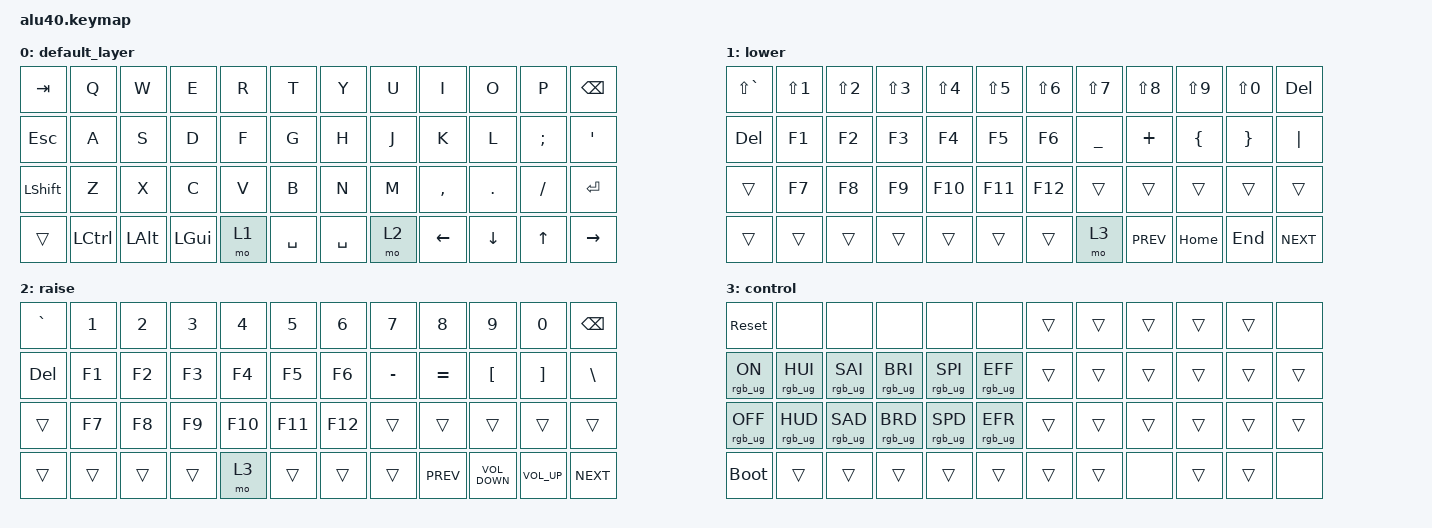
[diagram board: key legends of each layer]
/*
 * Copyright (c) 2022 The ZMK Contributors
 *
 * SPDX-License-Identifier: MIT
 */

#include <behaviors.dtsi>
#include <dt-bindings/zmk/keys.h>
#include <dt-bindings/zmk/rgb.h>

/ {
    keymap {
        compatible = "zmk,keymap";

        default_layer {
            // -----------------------------------------------------------------------------------------
            // | ESC/~ |  Q   |  W   |  E   |  R   |  T   |   Y   |  U    |  I   |  O   |   P   | BSPC  |
            // | TAB   |  A   |  S   |  D   |  F   |  G   |   H   |  J    |  K   |  L   |   ;   |  '    |
            // | SHIFT |  Z   |  X   |  C   |  V   |  B   |   N   |  M    |  ,   |  .   |   /   |RET/SFT|
            // | PLAY  | LCTL | LALT | LGUI | LOWR |     SPACE    |  RAIS | LARW | UARW | DARW  |  RARW |

            bindings = <
&kp TAB    &kp Q      &kp W     &kp E     &kp R  &kp T      &kp Y      &kp U  &kp I      &kp O           &kp P         &kp BSPC
&kp ESC    &kp A      &kp S     &kp D     &kp F  &kp G      &kp H      &kp J  &kp K      &kp L           &kp SEMI      &kp SQT
&kp LSHFT  &kp Z      &kp X     &kp C     &kp V  &kp B      &kp N      &kp M  &kp COMMA  &kp DOT         &kp FSLH      &kp ENTER
&trans     &kp LCTRL  &kp LALT  &kp LGUI  &mo 1  &kp SPACE  &kp SPACE  &mo 2  &kp LEFT   &kp DOWN_ARROW  &kp UP_ARROW  &kp RIGHT
            >;
        };

        lower {
            bindings = <
&kp LS(GRAVE)  &kp LS(N1)  &kp LS(N2)  &kp LS(N3)  &kp LS(N4)  &kp LS(N5)  &kp LS(N6)  &kp LS(N7)  &kp LS(N8)  &kp LS(N9)  &kp LS(N0)  &kp DEL
&kp DEL        &kp F1      &kp F2      &kp F3      &kp F4      &kp F5      &kp F6      &kp UNDER   &kp PLUS    &kp LBRC    &kp RBRC    &kp PIPE
&trans         &kp F7      &kp F8      &kp F9      &kp F10     &kp F11     &kp F12     &trans      &trans      &trans      &trans      &trans
&trans         &trans      &trans      &trans      &trans      &trans      &trans      &mo 3       &kp C_PREV  &kp HOME    &kp END     &kp C_NEXT
            >;
        };

        raise {
            bindings = <
&kp GRAVE  &kp N1  &kp N2  &kp N3  &kp N4   &kp N5   &kp N6   &kp N7     &kp N8      &kp N9             &kp N0        &kp BSPC
&kp DEL    &kp F1  &kp F2  &kp F3  &kp F4   &kp F5   &kp F6   &kp MINUS  &kp EQUAL   &kp LBKT           &kp RBKT      &kp BSLH
&trans     &kp F7  &kp F8  &kp F9  &kp F10  &kp F11  &kp F12  &trans     &trans      &trans             &trans        &trans
&trans     &trans  &trans  &trans  &mo 3    &trans   &trans   &trans     &kp C_PREV  &kp C_VOLUME_DOWN  &kp C_VOL_UP  &kp C_NEXT
            >;
        };

        control {
            bindings = <
&sys_reset       &none            &none            &none            &none            &none            &trans  &trans  &trans  &trans  &trans  &none
&rgb_ug RGB_ON   &rgb_ug RGB_HUI  &rgb_ug RGB_SAI  &rgb_ug RGB_BRI  &rgb_ug RGB_SPI  &rgb_ug RGB_EFF  &trans  &trans  &trans  &trans  &trans  &trans
&rgb_ug RGB_OFF  &rgb_ug RGB_HUD  &rgb_ug RGB_SAD  &rgb_ug RGB_BRD  &rgb_ug RGB_SPD  &rgb_ug RGB_EFR  &trans  &trans  &trans  &trans  &trans  &trans
&bootloader      &trans           &trans           &trans           &trans           &trans           &trans  &trans  &none   &trans  &trans  &none
            >;
        };
    };
};
